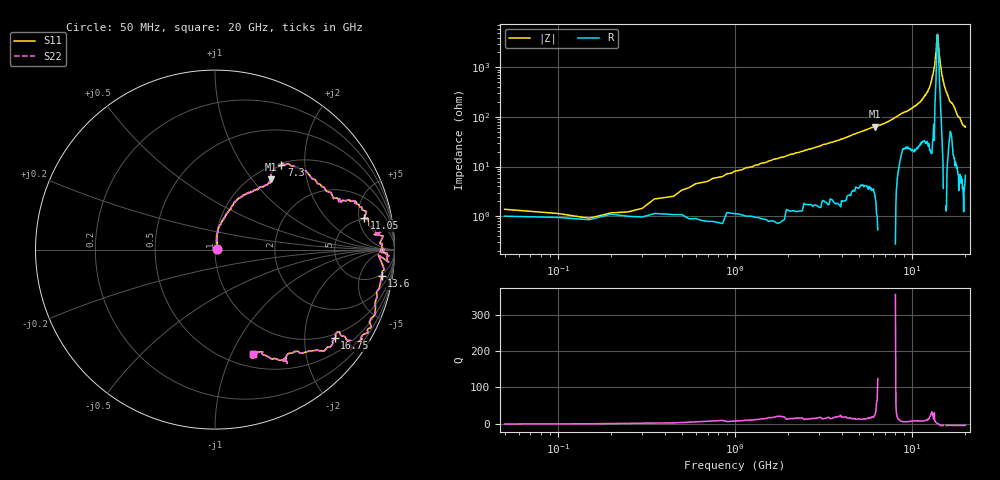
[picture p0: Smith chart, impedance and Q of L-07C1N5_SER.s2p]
#	mhz	s	ma	r	50
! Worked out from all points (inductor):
!   400 points, 50 MHz to 20 GHz, reference 50 ohm
!   read as one part in series: L = 1.19 nH near 550 MHz
!   highest Q = 28.3 at 6.2 GHz (marker M1), where L = 1.65 nH
!   self-resonance near 13.9 GHz
!   S11 on the Smith chart (normalised r, x): 50 MHz: 1.02, +0.00; 7.3 GHz: 1.03, +1.52; 11.05 GHz: 4.65, +5.93; 13.6 GHz: 4, -11; 16.75 GHz: 0.88, -2.79; 20 GHz: 0.64, -1.21
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50  0.01 12.5  0.99 1.2  0.99 1.2  0.01 12.5
150  0.01 47.4  0.99 0.8  0.99 0.8  0.01 47.4
200  0.02 54.1  0.99 0.5  0.99 0.5  0.02 54.1
300  0.02 62.4  0.99 -0.2  0.99 -0.2  0.02 62.4
350  0.03 64.2  0.99 -0.6  0.99 -0.6  0.03 64.2
1000  0.08 81.6  0.98 -4.5  0.98 -4.5  0.08 81.6
3400  0.26 68.4  0.95 -17.8  0.95 -17.8  0.26 68.4
6200  0.5 51.4  0.85 -36.2  0.85 -36.2  0.5 51.4
6700  0.54 53.9  0.82 -40.2  0.82 -40.2  0.54 53.9
7300  0.6 52.0  0.78 -44.8  0.78 -44.8  0.6 52.0
10050  0.8 19.6  0.56 -60.7  0.56 -60.7  0.8 19.6
11050  0.85 12.0  0.45 -69.8  0.45 -69.8  0.85 12.0
12500  0.93 -0.3  0.25 -86.4  0.25 -86.4  0.93 -0.3
13350  0.91 -1.9  0.09 -89.9  0.09 -89.9  0.91 -1.9
13600  0.94 -9.1  0.05 -84.1  0.05 -84.1  0.94 -9.1
13850  0.93 -14.7  0.02 -44.0  0.02 -44.0  0.93 -14.7
13950  0.94 -17.1  0.02 -10.7  0.02 -10.7  0.94 -17.1
14000  0.94 -17.6  0.03 2.1  0.03 2.1  0.94 -17.6
14750  0.95 -29.9  0.13 57.8  0.13 57.8  0.95 -29.9
16700  0.83 -35.8  0.4 42.9  0.4 42.9  0.83 -35.8
16750  0.83 -36.5  0.4 43.2  0.4 43.2  0.83 -36.5
20000  0.62 -70.0  0.73 15.6  0.73 15.6  0.62 -70.0
